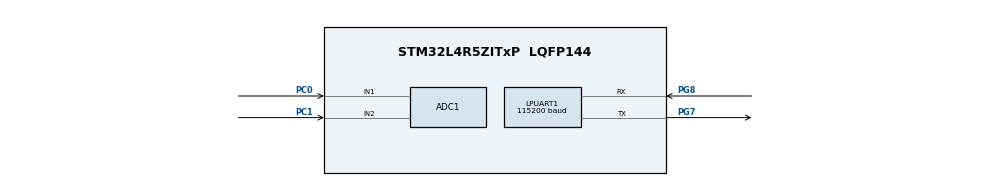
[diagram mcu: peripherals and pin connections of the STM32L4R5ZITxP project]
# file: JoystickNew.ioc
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ADC1.Channel-0\#ChannelRegularConversion=ADC_CHANNEL_1
ADC1.Channel-1\#ChannelRegularConversion=ADC_CHANNEL_2
ADC1.ContinuousConvMode=DISABLE
ADC1.DMAContinuousRequests=DISABLE
ADC1.NbrOfConversion=2
ADC1.NbrOfConversionFlag=1
ADC1.OffsetNumber-0\#ChannelRegularConversion=ADC_OFFSET_NONE
ADC1.OffsetNumber-1\#ChannelRegularConversion=ADC_OFFSET_NONE
ADC1.Rank-0\#ChannelRegularConversion=1
ADC1.Rank-1\#ChannelRegularConversion=2
ADC1.SamplingTime-0\#ChannelRegularConversion=ADC_SAMPLETIME_640CYCLES_5
ADC1.SamplingTime-1\#ChannelRegularConversion=ADC_SAMPLETIME_640CYCLES_5
ADC1.master=1
LPUART1.BaudRate=115200
LPUART1.WordLength=UART_WORDLENGTH_8B
Mcu.Family=STM32L4
Mcu.Name=STM32L4R5ZITxP
Mcu.Package=LQFP144
NVIC.PriorityGroup=NVIC_PRIORITYGROUP_4
PA0.Signal=S_TIM2_CH1
PA1.Signal=ADCx_IN6
PA10.Signal=USB_OTG_FS_ID
PA13\ (JTMS/SWDIO).Signal=SYS_JTMS-SWDIO
PA14\ (JTCK/SWCLK).Signal=SYS_JTCK-SWCLK
PA3.Signal=ADCx_IN8
PA4.Signal=SPI1_NSS
PA5.Signal=SPI1_SCK
PA6.Signal=SPI1_MISO
PA7.Signal=SPI1_MOSI
PA8.Signal=USB_OTG_FS_SOF
PA9.Signal=USB_OTG_FS_VBUS
PB0.Signal=S_TIM3_CH3
PB1.Signal=ADCx_IN16
PB10.Signal=S_TIM2_CH3
PB12.Signal=SAI2_FS_A
PB13.Signal=SAI2_SCK_A
PB14.Signal=S_TIM15_CH1
PB15.Signal=SAI2_SD_A
PB2.Signal=COMP1_INP
PB3\ (JTDO/TRACESWO).Signal=SPI3_SCK
PB4\ (NJTRST).Signal=SPI3_MISO
PB5.Signal=SPI3_MOSI
PB6.Signal=COMP2_INP
PB8.Signal=I2C1_SCL
PB9.Signal=I2C1_SDA
PC0.Signal=ADCx_IN1
PC1.Signal=ADCx_IN2
PC10.Signal=SDMMC1_D2
PC11.Signal=SDMMC1_D3
PC12.Signal=SDMMC1_CK
PC13.Signal=SYS_WKUP2
PC14-OSC32_IN\ (PC14).Signal=RCC_OSC32_IN
PC15-OSC32_OUT\ (PC15).Signal=RCC_OSC32_OUT
PC2.Signal=ADCx_IN3
PC3.Signal=ADCx_IN4
PC4.Signal=ADCx_IN13
PC5.Signal=ADCx_IN14
PC6.Signal=SAI2_MCLK_A
PC7.Signal=S_TIM3_CH2
PC8.Signal=SDMMC1_D0
PC9.Signal=SDMMC1_D1
PD0.Signal=CAN1_RX
PD14.Signal=S_TIM4_CH3
PD15.Signal=S_TIM4_CH4
PD2.Signal=SDMMC1_CMD
PD3.Signal=USART2_CTS
PD4.Signal=USART2_RTS
PD5.Signal=USART2_TX
PD6.Signal=USART2_RX
PD8.Signal=USART3_TX
PD9.Signal=USART3_RX
PE0.Signal=S_TIM4_ETR
PE10.Signal=TIM1_CH2N
PE11.Signal=S_TIM1_CH2
PE12.Signal=TIM1_CH3N
PE13.Signal=S_TIM1_CH3
PE14.Signal=TIM1_BKIN2
PE15.Signal=TIM1_BKIN
PE2.Signal=SAI1_MCLK_A
PE3.Signal=SAI1_SD_B
PE7.Signal=S_TIM1_ETR
PE8.Signal=TIM1_CH1N
PE9.Signal=S_TIM1_CH1
PF0.Signal=I2C2_SDA
PF1.Signal=I2C2_SCL
PF2.Signal=I2C2_SMBA
PF7.Signal=SAI1_MCLK_B
PG7.Mode=Asynchronous
PG7.Signal=LPUART1_TX
PG8.Mode=Asynchronous
PG8.Signal=LPUART1_RX
PH0-OSC_IN\ (PH0).Signal=RCC_OSC_IN
PH1-OSC_OUT\ (PH1).Signal=RCC_OSC_OUT
ProjectManager.HeapSize=0x200
ProjectManager.StackSize=0x400
ProjectManager.TargetToolchain=STM32CubeIDE
RCC.HSE_VALUE=8000000
RCC.HSI48_VALUE=48000000
RCC.HSI_VALUE=16000000
RCC.LSE_VALUE=32768
RCC.MSI_VALUE=4000000
RCC.VCOOutputFreq_Value=32000000
SH.ADCx_IN1.0=ADC1_IN1,IN1-Single-Ended
SH.ADCx_IN13.0=ADC1_IN13
SH.ADCx_IN14.0=ADC1_IN14
SH.ADCx_IN16.0=ADC1_IN16
SH.ADCx_IN2.0=ADC1_IN2,IN2-Single-Ended
SH.ADCx_IN3.0=ADC1_IN3
SH.ADCx_IN4.0=ADC1_IN4
SH.ADCx_IN6.0=ADC1_IN6
SH.ADCx_IN8.0=ADC1_IN8
SH.S_TIM15_CH1.0=TIM15_CH1
SH.S_TIM1_CH1.0=TIM1_CH1
SH.S_TIM1_CH2.0=TIM1_CH2
SH.S_TIM1_CH3.0=TIM1_CH3
SH.S_TIM1_ETR.0=TIM1_ETR
SH.S_TIM2_CH1.0=TIM2_CH1
SH.S_TIM2_CH3.0=TIM2_CH3
SH.S_TIM3_CH2.0=TIM3_CH2
SH.S_TIM3_CH3.0=TIM3_CH3
SH.S_TIM4_CH3.0=TIM4_CH3
SH.S_TIM4_CH4.0=TIM4_CH4
SH.S_TIM4_ETR.0=TIM4_ETR
board=NUCLEO-L4R5ZI-P

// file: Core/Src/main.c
/* USER CODE BEGIN Header */
/**
  ******************************************************************************
  * @file           : main.c
  * @brief          : Main program body
  ******************************************************************************
  * @attention
  *
  * Copyright (c) 2024 STMicroelectronics.
  * All rights reserved.
  *
  * This software is licensed under terms that can be found in the LICENSE file
  * in the root directory of this software component.
  * If no LICENSE file comes with this software, it is provided AS-IS.
  *
  ******************************************************************************
  */
/* USER CODE END Header */
#include "main.h"

/* USER CODE BEGIN Includes */
#include "stdio.h"
/* USER CODE END Includes */

ADC_HandleTypeDef hadc1;

UART_HandleTypeDef hlpuart1;

void SystemClock_Config(void);
static void MX_GPIO_Init(void);
static void MX_ADC1_Init(void);
static void MX_LPUART1_UART_Init(void);

int main(void)
{

  /* MCU Configuration--------------------------------------------------------*/

  /* Reset of all peripherals, Initializes the Flash interface and the Systick. */
  HAL_Init();

  /* Configure the system clock */
  SystemClock_Config();

  /* Initialize all configured peripherals */
  MX_GPIO_Init();
  MX_ADC1_Init();
  MX_LPUART1_UART_Init();
  /* USER CODE BEGIN 2 */

  #define CHANNEL_X 1
  #define CHANNEL_Y 2

  uint16_t X;
  uint16_t Y;

  ADC_ChannelConfTypeDef sConfig = {0};  // Define the configuration structure
  sConfig.SamplingTime = ADC_SAMPLETIME_640CYCLES_5;
  sConfig.SingleDiff = ADC_SINGLE_ENDED;
  sConfig.OffsetNumber = ADC_OFFSET_NONE;
  sConfig.Offset = 0;

  //sConfig.SamplingTime = ADC_SAMPLETIME_15CYCLES;  // Set the sampling time (adjust as needed)
  /* USER CODE END 2 */

  /* Infinite loop */
  /* USER CODE BEGIN WHILE */
  while (1)
  {

	  // X
	  sConfig.Channel = ADC_CHANNEL_1;
	  sConfig.Rank = ADC_REGULAR_RANK_1;
	  HAL_ADC_ConfigChannel(&hadc1, &sConfig);
	  HAL_ADC_Start(&hadc1);
	  HAL_ADC_PollForConversion(&hadc1, 0xFFFF); // Wait for the conversion to finish
	  X = HAL_ADC_GetValue(&hadc1);  // CHANNEL_X (rank 1)
	  HAL_ADC_Stop(&hadc1);

	  // Y
	  sConfig.Channel = ADC_CHANNEL_2;
	  HAL_ADC_ConfigChannel(&hadc1, &sConfig);
	  HAL_ADC_Start(&hadc1);
	  HAL_ADC_PollForConversion(&hadc1, 0xFFFF); // Wait for the conversion to finish
	  Y = HAL_ADC_GetValue(&hadc1);  // CHANNEL_Y
	  HAL_ADC_Stop(&hadc1);

	  // Print the values
	  //printf("%d, %d\r\n", X, Y);
	  if (Y >= 250 && Y <= 350 && X >= 450 && X <= 550) {
	      printf("N\r\n");  // North
	  } else if (Y >= 1000 && Y <= 1100 && X >= 450 && X <= 550) {
	      printf("S\r\n");  // South
	  } else if (X >= 1000 && X <= 1100 && Y >= 450 && Y <= 550) {
	      printf("E\r\n");  // West
	  } else if (X >= 250 && X <= 350 && Y >= 450 && Y <= 550) {
	      printf("W\r\n");  // East
	  }

	  HAL_Delay(100);

	  // To add within interrupt handler:
	  // N: X in 500s, Y in 300s
	  // S: X in 500s, Y in 1000s
	  // E: X in 300s, Y in 500s
	  // W: X in 1000s, Y in 500s

    /* USER CODE END WHILE */

  }
}

void SystemClock_Config(void)
{
  RCC_OscInitTypeDef RCC_OscInitStruct = {0};
  RCC_ClkInitTypeDef RCC_ClkInitStruct = {0};

  /** Configure the main internal regulator output voltage
  */
  if (HAL_PWREx_ControlVoltageScaling(PWR_REGULATOR_VOLTAGE_SCALE1) != HAL_OK)
  {
    Error_Handler();
  }

  /** Initializes the RCC Oscillators according to the specified parameters
  * in the RCC_OscInitTypeDef structure.
  */
  RCC_OscInitStruct.OscillatorType = RCC_OSCILLATORTYPE_MSI;
  RCC_OscInitStruct.MSIState = RCC_MSI_ON;
  RCC_OscInitStruct.MSICalibrationValue = 0;
  RCC_OscInitStruct.MSIClockRange = RCC_MSIRANGE_6;
  RCC_OscInitStruct.PLL.PLLState = RCC_PLL_NONE;
  if (HAL_RCC_OscConfig(&RCC_OscInitStruct) != HAL_OK)
  {
    Error_Handler();
  }

  /** Initializes the CPU, AHB and APB buses clocks
  */
  RCC_ClkInitStruct.ClockType = RCC_CLOCKTYPE_HCLK|RCC_CLOCKTYPE_SYSCLK
                              |RCC_CLOCKTYPE_PCLK1|RCC_CLOCKTYPE_PCLK2;
  RCC_ClkInitStruct.SYSCLKSource = RCC_SYSCLKSOURCE_MSI;
  RCC_ClkInitStruct.AHBCLKDivider = RCC_SYSCLK_DIV1;
  RCC_ClkInitStruct.APB1CLKDivider = RCC_HCLK_DIV1;
  RCC_ClkInitStruct.APB2CLKDivider = RCC_HCLK_DIV1;

  if (HAL_RCC_ClockConfig(&RCC_ClkInitStruct, FLASH_LATENCY_0) != HAL_OK)
  {
    Error_Handler();
  }
}

static void MX_ADC1_Init(void)
{

  //ADC_ChannelConfTypeDef sConfig = {0};

  /** Common config
  */
  hadc1.Instance = ADC1;
  hadc1.Init.ClockPrescaler = ADC_CLOCK_ASYNC_DIV1;
  hadc1.Init.Resolution = ADC_RESOLUTION_12B;
  hadc1.Init.DataAlign = ADC_DATAALIGN_RIGHT;
  hadc1.Init.ScanConvMode = ADC_SCAN_ENABLE;
  hadc1.Init.EOCSelection = ADC_EOC_SINGLE_CONV;
  hadc1.Init.LowPowerAutoWait = DISABLE;
  hadc1.Init.ContinuousConvMode = DISABLE;
  hadc1.Init.NbrOfConversion = 2;
  hadc1.Init.DiscontinuousConvMode = DISABLE;
  hadc1.Init.ExternalTrigConv = ADC_SOFTWARE_START;
  hadc1.Init.ExternalTrigConvEdge = ADC_EXTERNALTRIGCONVEDGE_NONE;
  hadc1.Init.DMAContinuousRequests = DISABLE;
  hadc1.Init.Overrun = ADC_OVR_DATA_PRESERVED;
  hadc1.Init.OversamplingMode = DISABLE;
  if (HAL_ADC_Init(&hadc1) != HAL_OK)
  {
    Error_Handler();
  }

  /** Configure Regular Channel
  */
//  sConfig.Channel = ADC_CHANNEL_1;
//  sConfig.Rank = ADC_REGULAR_RANK_1;
//  sConfig.SamplingTime = ADC_SAMPLETIME_640CYCLES_5;
//  sConfig.SingleDiff = ADC_SINGLE_ENDED;
//  sConfig.OffsetNumber = ADC_OFFSET_NONE;
//  sConfig.Offset = 0;
//  if (HAL_ADC_ConfigChannel(&hadc1, &sConfig) != HAL_OK)
//  {
//    Error_Handler();
//  }
//
//  /** Configure Regular Channel
//  */
//  sConfig.Channel = ADC_CHANNEL_2;
//  sConfig.Rank = ADC_REGULAR_RANK_2;
//  if (HAL_ADC_ConfigChannel(&hadc1, &sConfig) != HAL_OK)
//  {
//    Error_Handler();
//  }

}

static void MX_LPUART1_UART_Init(void)
{

  hlpuart1.Instance = LPUART1;
  hlpuart1.Init.BaudRate = 115200;
  hlpuart1.Init.WordLength = UART_WORDLENGTH_8B;
  hlpuart1.Init.StopBits = UART_STOPBITS_1;
  hlpuart1.Init.Parity = UART_PARITY_NONE;
  hlpuart1.Init.Mode = UART_MODE_TX_RX;
  hlpuart1.Init.HwFlowCtl = UART_HWCONTROL_NONE;
  hlpuart1.Init.OneBitSampling = UART_ONE_BIT_SAMPLE_DISABLE;
  hlpuart1.Init.ClockPrescaler = UART_PRESCALER_DIV1;
  hlpuart1.AdvancedInit.AdvFeatureInit = UART_ADVFEATURE_NO_INIT;
  hlpuart1.FifoMode = UART_FIFOMODE_DISABLE;
  if (HAL_UART_Init(&hlpuart1) != HAL_OK)
  {
    Error_Handler();
  }
  if (HAL_UARTEx_SetTxFifoThreshold(&hlpuart1, UART_TXFIFO_THRESHOLD_1_8) != HAL_OK)
  {
    Error_Handler();
  }
  if (HAL_UARTEx_SetRxFifoThreshold(&hlpuart1, UART_RXFIFO_THRESHOLD_1_8) != HAL_OK)
  {
    Error_Handler();
  }
  if (HAL_UARTEx_DisableFifoMode(&hlpuart1) != HAL_OK)
  {
    Error_Handler();
  }

}

static void MX_GPIO_Init(void)
{
  GPIO_InitTypeDef GPIO_InitStruct = {0};

  /* GPIO Ports Clock Enable */
  __HAL_RCC_GPIOE_CLK_ENABLE();
  __HAL_RCC_GPIOC_CLK_ENABLE();
  __HAL_RCC_GPIOF_CLK_ENABLE();
  __HAL_RCC_GPIOH_CLK_ENABLE();
  __HAL_RCC_GPIOA_CLK_ENABLE();
  __HAL_RCC_GPIOB_CLK_ENABLE();
  __HAL_RCC_GPIOD_CLK_ENABLE();
  __HAL_RCC_GPIOG_CLK_ENABLE();
  HAL_PWREx_EnableVddIO2();

  /*Configure GPIO pins : PE2 PE3 */
  GPIO_InitStruct.Pin = GPIO_PIN_2|GPIO_PIN_3;
  GPIO_InitStruct.Mode = GPIO_MODE_AF_PP;
  GPIO_InitStruct.Pull = GPIO_NOPULL;
  GPIO_InitStruct.Speed = GPIO_SPEED_FREQ_LOW;
  GPIO_InitStruct.Alternate = GPIO_AF13_SAI1;
  HAL_GPIO_Init(GPIOE, &GPIO_InitStruct);

  /*Configure GPIO pins : PF0 PF1 PF2 */
  GPIO_InitStruct.Pin = GPIO_PIN_0|GPIO_PIN_1|GPIO_PIN_2;
  GPIO_InitStruct.Mode = GPIO_MODE_AF_OD;
  GPIO_InitStruct.Pull = GPIO_NOPULL;
  GPIO_InitStruct.Speed = GPIO_SPEED_FREQ_VERY_HIGH;
  GPIO_InitStruct.Alternate = GPIO_AF4_I2C2;
  HAL_GPIO_Init(GPIOF, &GPIO_InitStruct);

  /*Configure GPIO pin : PF7 */
  GPIO_InitStruct.Pin = GPIO_PIN_7;
  GPIO_InitStruct.Mode = GPIO_MODE_AF_PP;
  GPIO_InitStruct.Pull = GPIO_NOPULL;
  GPIO_InitStruct.Speed = GPIO_SPEED_FREQ_LOW;
  GPIO_InitStruct.Alternate = GPIO_AF13_SAI1;
  HAL_GPIO_Init(GPIOF, &GPIO_InitStruct);

  /*Configure GPIO pin : PA0 */
  GPIO_InitStruct.Pin = GPIO_PIN_0;
  GPIO_InitStruct.Mode = GPIO_MODE_AF_PP;
  GPIO_InitStruct.Pull = GPIO_NOPULL;
  GPIO_InitStruct.Speed = GPIO_SPEED_FREQ_LOW;
  GPIO_InitStruct.Alternate = GPIO_AF1_TIM2;
  HAL_GPIO_Init(GPIOA, &GPIO_InitStruct);

  /*Configure GPIO pins : PA4 PA5 PA6 PA7 */
  GPIO_InitStruct.Pin = GPIO_PIN_4|GPIO_PIN_5|GPIO_PIN_6|GPIO_PIN_7;
  GPIO_InitStruct.Mode = GPIO_MODE_AF_PP;
  GPIO_InitStruct.Pull = GPIO_NOPULL;
  GPIO_InitStruct.Speed = GPIO_SPEED_FREQ_VERY_HIGH;
  GPIO_InitStruct.Alternate = GPIO_AF5_SPI1;
  HAL_GPIO_Init(GPIOA, &GPIO_InitStruct);

  /*Configure GPIO pin : PB0 */
  GPIO_InitStruct.Pin = GPIO_PIN_0;
  GPIO_InitStruct.Mode = GPIO_MODE_AF_PP;
  GPIO_InitStruct.Pull = GPIO_NOPULL;
  GPIO_InitStruct.Speed = GPIO_SPEED_FREQ_LOW;
  GPIO_InitStruct.Alternate = GPIO_AF2_TIM3;
  HAL_GPIO_Init(GPIOB, &GPIO_InitStruct);

  /*Configure GPIO pins : PB2 PB6 */
  GPIO_InitStruct.Pin = GPIO_PIN_2|GPIO_PIN_6;
  GPIO_InitStruct.Mode = GPIO_MODE_ANALOG;
  GPIO_InitStruct.Pull = GPIO_NOPULL;
  HAL_GPIO_Init(GPIOB, &GPIO_InitStruct);

  /*Configure GPIO pins : PE7 PE8 PE9 PE10
                           PE11 PE12 PE13 */
  GPIO_InitStruct.Pin = GPIO_PIN_7|GPIO_PIN_8|GPIO_PIN_9|GPIO_PIN_10
                          |GPIO_PIN_11|GPIO_PIN_12|GPIO_PIN_13;
  GPIO_InitStruct.Mode = GPIO_MODE_AF_PP;
  GPIO_InitStruct.Pull = GPIO_NOPULL;
  GPIO_InitStruct.Speed = GPIO_SPEED_FREQ_LOW;
  GPIO_InitStruct.Alternate = GPIO_AF1_TIM1;
  HAL_GPIO_Init(GPIOE, &GPIO_InitStruct);

  /*Configure GPIO pins : PE14 PE15 */
  GPIO_InitStruct.Pin = GPIO_PIN_14|GPIO_PIN_15;
  GPIO_InitStruct.Mode = GPIO_MODE_AF_PP;
  GPIO_InitStruct.Pull = GPIO_NOPULL;
  GPIO_InitStruct.Speed = GPIO_SPEED_FREQ_LOW;
  GPIO_InitStruct.Alternate = GPIO_AF3_TIM1_COMP1;
  HAL_GPIO_Init(GPIOE, &GPIO_InitStruct);

  /*Configure GPIO pin : PB10 */
  GPIO_InitStruct.Pin = GPIO_PIN_10;
  GPIO_InitStruct.Mode = GPIO_MODE_AF_PP;
  GPIO_InitStruct.Pull = GPIO_NOPULL;
  GPIO_InitStruct.Speed = GPIO_SPEED_FREQ_LOW;
  GPIO_InitStruct.Alternate = GPIO_AF1_TIM2;
  HAL_GPIO_Init(GPIOB, &GPIO_InitStruct);

  /*Configure GPIO pins : PB12 PB13 PB15 */
  GPIO_InitStruct.Pin = GPIO_PIN_12|GPIO_PIN_13|GPIO_PIN_15;
  GPIO_InitStruct.Mode = GPIO_MODE_AF_PP;
  GPIO_InitStruct.Pull = GPIO_NOPULL;
  GPIO_InitStruct.Speed = GPIO_SPEED_FREQ_LOW;
  GPIO_InitStruct.Alternate = GPIO_AF13_SAI2;
  HAL_GPIO_Init(GPIOB, &GPIO_InitStruct);

  /*Configure GPIO pin : PB14 */
  GPIO_InitStruct.Pin = GPIO_PIN_14;
  GPIO_InitStruct.Mode = GPIO_MODE_AF_PP;
  GPIO_InitStruct.Pull = GPIO_NOPULL;
  GPIO_InitStruct.Speed = GPIO_SPEED_FREQ_LOW;
  GPIO_InitStruct.Alternate = GPIO_AF14_TIM15;
  HAL_GPIO_Init(GPIOB, &GPIO_InitStruct);

  /*Configure GPIO pins : PD8 PD9 */
  GPIO_InitStruct.Pin = GPIO_PIN_8|GPIO_PIN_9;
  GPIO_InitStruct.Mode = GPIO_MODE_AF_PP;
  GPIO_InitStruct.Pull = GPIO_NOPULL;
  GPIO_InitStruct.Speed = GPIO_SPEED_FREQ_VERY_HIGH;
  GPIO_InitStruct.Alternate = GPIO_AF7_USART3;
  HAL_GPIO_Init(GPIOD, &GPIO_InitStruct);

  /*Configure GPIO pins : PD14 PD15 */
  GPIO_InitStruct.Pin = GPIO_PIN_14|GPIO_PIN_15;
  GPIO_InitStruct.Mode = GPIO_MODE_AF_PP;
  GPIO_InitStruct.Pull = GPIO_NOPULL;
  GPIO_InitStruct.Speed = GPIO_SPEED_FREQ_LOW;
  GPIO_InitStruct.Alternate = GPIO_AF2_TIM4;
  HAL_GPIO_Init(GPIOD, &GPIO_InitStruct);

  /*Configure GPIO pin : PC6 */
  GPIO_InitStruct.Pin = GPIO_PIN_6;
  GPIO_InitStruct.Mode = GPIO_MODE_AF_PP;
  GPIO_InitStruct.Pull = GPIO_NOPULL;
  GPIO_InitStruct.Speed = GPIO_SPEED_FREQ_LOW;
  GPIO_InitStruct.Alternate = GPIO_AF13_SAI2;
  HAL_GPIO_Init(GPIOC, &GPIO_InitStruct);

  /*Configure GPIO pin : PC7 */
  GPIO_InitStruct.Pin = GPIO_PIN_7;
  GPIO_InitStruct.Mode = GPIO_MODE_AF_PP;
  GPIO_InitStruct.Pull = GPIO_NOPULL;
  GPIO_InitStruct.Speed = GPIO_SPEED_FREQ_LOW;
  GPIO_InitStruct.Alternate = GPIO_AF2_TIM3;
  HAL_GPIO_Init(GPIOC, &GPIO_InitStruct);

  /*Configure GPIO pins : PC8 PC9 PC10 PC11
                           PC12 */
  GPIO_InitStruct.Pin = GPIO_PIN_8|GPIO_PIN_9|GPIO_PIN_10|GPIO_PIN_11
                          |GPIO_PIN_12;
  GPIO_InitStruct.Mode = GPIO_MODE_AF_PP;
  GPIO_InitStruct.Pull = GPIO_NOPULL;
  GPIO_InitStruct.Speed = GPIO_SPEED_FREQ_VERY_HIGH;
  GPIO_InitStruct.Alternate = GPIO_AF12_SDMMC1;
  HAL_GPIO_Init(GPIOC, &GPIO_InitStruct);

  /*Configure GPIO pins : PA8 PA10 */
  GPIO_InitStruct.Pin = GPIO_PIN_8|GPIO_PIN_10;
  GPIO_InitStruct.Mode = GPIO_MODE_AF_PP;
  GPIO_InitStruct.Pull = GPIO_NOPULL;
  GPIO_InitStruct.Speed = GPIO_SPEED_FREQ_VERY_HIGH;
  GPIO_InitStruct.Alternate = GPIO_AF10_OTG_FS;
  HAL_GPIO_Init(GPIOA, &GPIO_InitStruct);

  /*Configure GPIO pin : PA9 */
  GPIO_InitStruct.Pin = GPIO_PIN_9;
  GPIO_InitStruct.Mode = GPIO_MODE_INPUT;
  GPIO_InitStruct.Pull = GPIO_NOPULL;
  HAL_GPIO_Init(GPIOA, &GPIO_InitStruct);

  /*Configure GPIO pin : PD0 */
  GPIO_InitStruct.Pin = GPIO_PIN_0;
  GPIO_InitStruct.Mode = GPIO_MODE_AF_PP;
  GPIO_InitStruct.Pull = GPIO_NOPULL;
  GPIO_InitStruct.Speed = GPIO_SPEED_FREQ_VERY_HIGH;
  GPIO_InitStruct.Alternate = GPIO_AF9_CAN1;
  HAL_GPIO_Init(GPIOD, &GPIO_InitStruct);

  /*Configure GPIO pin : PD2 */
  GPIO_InitStruct.Pin = GPIO_PIN_2;
  GPIO_InitStruct.Mode = GPIO_MODE_AF_PP;
  GPIO_InitStruct.Pull = GPIO_NOPULL;
  GPIO_InitStruct.Speed = GPIO_SPEED_FREQ_VERY_HIGH;
  GPIO_InitStruct.Alternate = GPIO_AF12_SDMMC1;
  HAL_GPIO_Init(GPIOD, &GPIO_InitStruct);

  /*Configure GPIO pins : PD3 PD4 PD5 PD6 */
  GPIO_InitStruct.Pin = GPIO_PIN_3|GPIO_PIN_4|GPIO_PIN_5|GPIO_PIN_6;
  GPIO_InitStruct.Mode = GPIO_MODE_AF_PP;
  GPIO_InitStruct.Pull = GPIO_NOPULL;
  GPIO_InitStruct.Speed = GPIO_SPEED_FREQ_VERY_HIGH;
  GPIO_InitStruct.Alternate = GPIO_AF7_USART2;
  HAL_GPIO_Init(GPIOD, &GPIO_InitStruct);

  /*Configure GPIO pins : PB3 PB4 PB5 */
  GPIO_InitStruct.Pin = GPIO_PIN_3|GPIO_PIN_4|GPIO_PIN_5;
  GPIO_InitStruct.Mode = GPIO_MODE_AF_PP;
  GPIO_InitStruct.Pull = GPIO_NOPULL;
  GPIO_InitStruct.Speed = GPIO_SPEED_FREQ_VERY_HIGH;
  GPIO_InitStruct.Alternate = GPIO_AF6_SPI3;
  HAL_GPIO_Init(GPIOB, &GPIO_InitStruct);

  /*Configure GPIO pins : PB8 PB9 */
  GPIO_InitStruct.Pin = GPIO_PIN_8|GPIO_PIN_9;
  GPIO_InitStruct.Mode = GPIO_MODE_AF_OD;
  GPIO_InitStruct.Pull = GPIO_NOPULL;
  GPIO_InitStruct.Speed = GPIO_SPEED_FREQ_VERY_HIGH;
  GPIO_InitStruct.Alternate = GPIO_AF4_I2C1;
  HAL_GPIO_Init(GPIOB, &GPIO_InitStruct);

  /*Configure GPIO pin : PE0 */
  GPIO_InitStruct.Pin = GPIO_PIN_0;
  GPIO_InitStruct.Mode = GPIO_MODE_AF_PP;
  GPIO_InitStruct.Pull = GPIO_NOPULL;
  GPIO_InitStruct.Speed = GPIO_SPEED_FREQ_LOW;
  GPIO_InitStruct.Alternate = GPIO_AF2_TIM4;
  HAL_GPIO_Init(GPIOE, &GPIO_InitStruct);

}

/* USER CODE BEGIN 4 */

#ifdef __GNUC__
#define PUTCHAR_PROTOTYPE int __io_putchar(int ch)
#else
  #define PUTCHAR_PROTOTYPE int fputc(int ch, FILE *f)
#endif /* __GNUC__ */
PUTCHAR_PROTOTYPE
{
  HAL_UART_Transmit(&hlpuart1, (uint8_t *)&ch, 1, 0xFFFF);
  return ch;
}

/* USER CODE END 4 */

void Error_Handler(void)
{
  __disable_irq();
  while (1)
  {
  }
}
